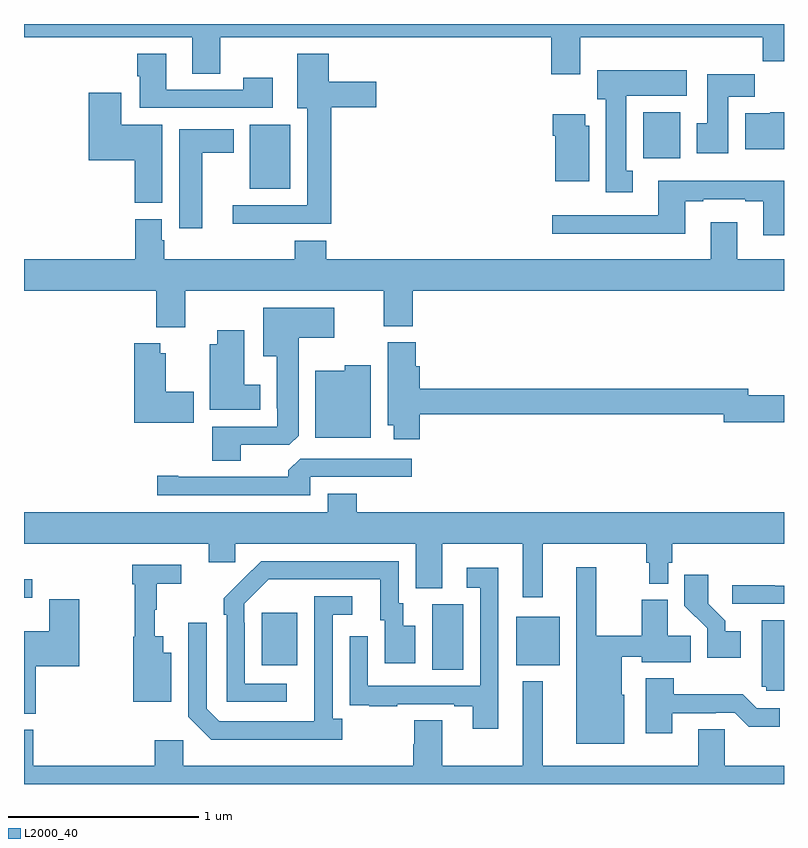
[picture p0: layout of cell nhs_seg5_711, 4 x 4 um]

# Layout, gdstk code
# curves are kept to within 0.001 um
import gdstk
lib = gdstk.Library(unit=1e-6, precision=1e-09)
def R(c, l, rs):  # rectangles x0, y0, x1, y1
    for r in rs: c.add(gdstk.rectangle(r[:2], r[2:], *l))
def P(c, l, *ps):  # polygons
    for p in ps: c.add(gdstk.Polygon(p, *l))
L2000_40 = (2000, 40)

nhs_seg5_711 = lib.new_cell('nhs_seg5_711')
R(nhs_seg5_711, L2000_40, [(157.148,885.4,157.312,885.744), (156.251,885.425,156.439,885.7), (157.592,885.425,157.819,885.679), (155,885.78,155.044,885.876), (156.188,887.933,156.4,888.268), (158.258,888.092,158.455,888.334)])
P(nhs_seg5_711, L2000_40, [(157.927,888.728),(158.887,888.728),(158.887,888.604),(159,888.604),(159,888.799),(155,888.799),(155,888.728),(155.885,888.728),(155.885,888.538),(156.033,888.538),(156.033,888.728),(157.775,888.728),(157.775,888.534),(157.927,888.534)],
  [(156.617,888.362),(156.853,888.362),(156.853,888.496),(156.604,888.496),(156.604,888.643),(156.437,888.643),(156.437,888.356),(156.491,888.356),(156.491,887.844),(156.099,887.844),(156.099,887.747),(156.617,887.747)],
  [(156.31,888.517),(156.154,888.517),(156.154,888.453),(155.749,888.453),(155.749,888.643),(155.597,888.643),(155.597,888.523),(155.609,888.523),(155.609,888.357),(156.31,888.357)],
  [(158.203,888.026),(158.17,888.026),(158.17,888.422),(158.488,888.422),(158.488,888.556),(158.018,888.556),(158.018,888.402),(158.063,888.402),(158.063,887.913),(158.203,887.913)],
  [(158.707,888.416),(158.846,888.416),(158.846,888.535),(158.597,888.535),(158.597,888.276),(158.54,888.276),(158.54,888.12),(158.707,888.12)],
  [(155.728,888.268),(155.512,888.268),(155.512,888.436),(155.342,888.436),(155.342,888.083),(155.582,888.083),(155.582,887.857),(155.728,887.857)],
  [(159,888.334),(158.928,888.334),(158.928,888.328),(158.795,888.328),(158.795,888.14),(159,888.14)],
  [(157.975,888.264),(157.954,888.264),(157.954,888.325),(157.784,888.325),(157.784,888.212),(157.796,888.212),(157.796,887.972),(157.975,887.972)],
  [(155.938,888.122),(156.103,888.122),(156.103,888.244),(155.816,888.244),(155.816,887.724),(155.938,887.724)],
  [(159,887.974),(158.339,887.974),(158.339,887.793),(157.779,887.793),(157.779,887.696),(158.479,887.696),(158.479,887.865),(158.575,887.865),(158.575,887.877),(158.795,887.877),(158.795,887.865),(158.891,887.865),(158.891,887.688),(159,887.688)],
  [(155.848,887.396),(156.893,887.396),(156.893,887.209),(157.046,887.209),(157.046,887.396),(159,887.396),(159,887.56),(158.755,887.56),(158.755,887.755),(158.615,887.755),(158.615,887.56),(156.59,887.56),(156.59,887.659),(156.425,887.659),(156.425,887.56),(155.738,887.56),(155.738,887.661),(155.725,887.661),(155.725,887.772),(155.585,887.772),(155.585,887.56),(155,887.56),(155,887.396),(155.696,887.396),(155.696,887.204),(155.848,887.204)],
  [(156.142,886.584),(156.396,886.584),(156.445,886.633),(156.445,887.147),(156.634,887.147),(156.634,887.305),(156.26,887.305),(156.26,887.051),(156.329,887.051),(156.329,886.777),(156.333,886.777),(156.333,886.68),(155.99,886.68),(155.99,886.501),(156.142,886.501)],
  [(156.244,886.9),(156.16,886.9),(156.16,887.188),(156.017,887.188),(156.017,887.113),(155.978,887.113),(155.978,886.769),(156.244,886.769)],
  [(157.082,886.744),(158.684,886.744),(158.684,886.702),(159,886.702),(159,886.844),(158.812,886.844),(158.812,886.88),(157.082,886.88),(157.082,886.998),(157.061,886.998),(157.061,887.124),(156.914,887.124),(156.914,886.688),(156.947,886.688),(156.947,886.614),(157.082,886.614)],
  [(155.893,886.863),(155.746,886.863),(155.746,887.065),(155.716,887.065),(155.716,887.119),(155.579,887.119),(155.579,886.7),(155.893,886.7)],
  [(156.826,887.002),(156.687,887.002),(156.687,886.975),(156.533,886.975),(156.533,886.622),(156.826,886.622)],
  [(156.507,886.416),(157.042,886.416),(157.042,886.512),(156.453,886.512),(156.392,886.45),(156.392,886.416),(155.812,886.416),(155.812,886.421),(155.7,886.421),(155.7,886.32),(156.507,886.32)],
  [(157.729,886.064),(158.275,886.064),(158.275,885.963),(158.29,885.963),(158.29,885.854),(158.391,885.854),(158.391,885.963),(158.411,885.963),(158.411,886.064),(159,886.064),(159,886.228),(156.752,886.228),(156.752,886.327),(156.599,886.327),(156.599,886.228),(155,886.228),(155,886.064),(155.972,886.064),(155.972,885.966),(156.111,885.966),(156.111,886.064),(157.061,886.064),(157.061,885.829),(157.201,885.829),(157.201,886.064),(157.625,886.064),(157.625,885.783),(157.729,885.783)],
  [(156.382,885.327),(156.162,885.327),(156.162,885.647),(156.159,885.647),(156.159,885.747),(156.288,885.876),(156.875,885.876),(156.875,885.66),(156.899,885.66),(156.899,885.435),(157.06,885.435),(157.06,885.631),(156.997,885.631),(156.997,885.75),(156.972,885.75),(156.972,885.972),(156.248,885.972),(156.051,885.777),(156.051,885.689),(156.066,885.689),(156.066,885.231),(156.382,885.231)],
  [(155.776,885.49),(155.734,885.49),(155.734,885.577),(155.687,885.577),(155.687,885.717),(155.698,885.717),(155.698,885.853),(155.827,885.853),(155.827,885.954),(155.569,885.954),(155.569,885.851),(155.584,885.851),(155.584,885.573),(155.576,885.573),(155.576,885.233),(155.776,885.233)],
  [(158.158,885.27),(158.146,885.27),(158.146,885.47),(158.252,885.47),(158.252,885.44),(158.51,885.44),(158.51,885.578),(158.389,885.578),(158.389,885.769),(158.252,885.769),(158.252,885.58),(158.011,885.58),(158.011,885.94),(157.907,885.94),(157.907,885.011),(158.158,885.011)],
  [(157.497,885.937),(157.329,885.937),(157.329,885.831),(157.401,885.831),(157.401,885.315),(156.81,885.315),(156.81,885.577),(156.714,885.577),(156.714,885.322),(156.715,885.322),(156.715,885.213),(156.817,885.213),(156.817,885.207),(156.965,885.207),(156.965,885.219),(157.265,885.219),(157.265,885.207),(157.361,885.207),(157.361,885.09),(157.497,885.09)],
  [(158.773,885.604),(158.692,885.604),(158.692,885.659),(158.602,885.749),(158.602,885.901),(158.476,885.901),(158.476,885.738),(158.595,885.619),(158.595,885.464),(158.773,885.464)],
  [(159,885.843),(158.951,885.843),(158.951,885.846),(158.727,885.846),(158.727,885.747),(159,885.747)],
  [(156.676,885.142),(156.624,885.142),(156.624,885.69),(156.727,885.69),(156.727,885.786),(156.528,885.786),(156.527,885.129),(156.027,885.129),(155.961,885.195),(155.961,885.649),(155.865,885.649),(155.865,885.153),(155.986,885.032),(156.676,885.032)],
  [(155.063,885.419),(155.29,885.419),(155.29,885.772),(155.132,885.772),(155.132,885.604),(155,885.604),(155,885.169),(155.063,885.169)],
  [(159,885.661),(158.882,885.661),(158.882,885.312),(158.907,885.312),(158.907,885.291),(159,885.291)],
  [(158.413,885.171),(158.642,885.171),(158.642,885.174),(158.742,885.174),(158.815,885.101),(158.977,885.101),(158.977,885.198),(158.856,885.198),(158.783,885.271),(158.421,885.271),(158.421,885.355),(158.273,885.355),(158.273,885.066),(158.413,885.066)],
  [(159,884.896),(158.688,884.896),(158.688,885.086),(158.549,885.086),(158.549,884.896),(157.729,884.896),(157.729,885.34),(157.625,885.34),(157.625,884.896),(157.201,884.896),(157.201,885.134),(157.054,885.134),(157.054,885.009),(157.049,885.009),(157.049,884.896),(155.838,884.896),(155.838,885.028),(155.687,885.028),(155.687,884.896),(155.048,884.896),(155.048,885.084),(155,885.084),(155,884.799),(159,884.799)])

lib.write_gds('nhs_seg5_711.gds')
